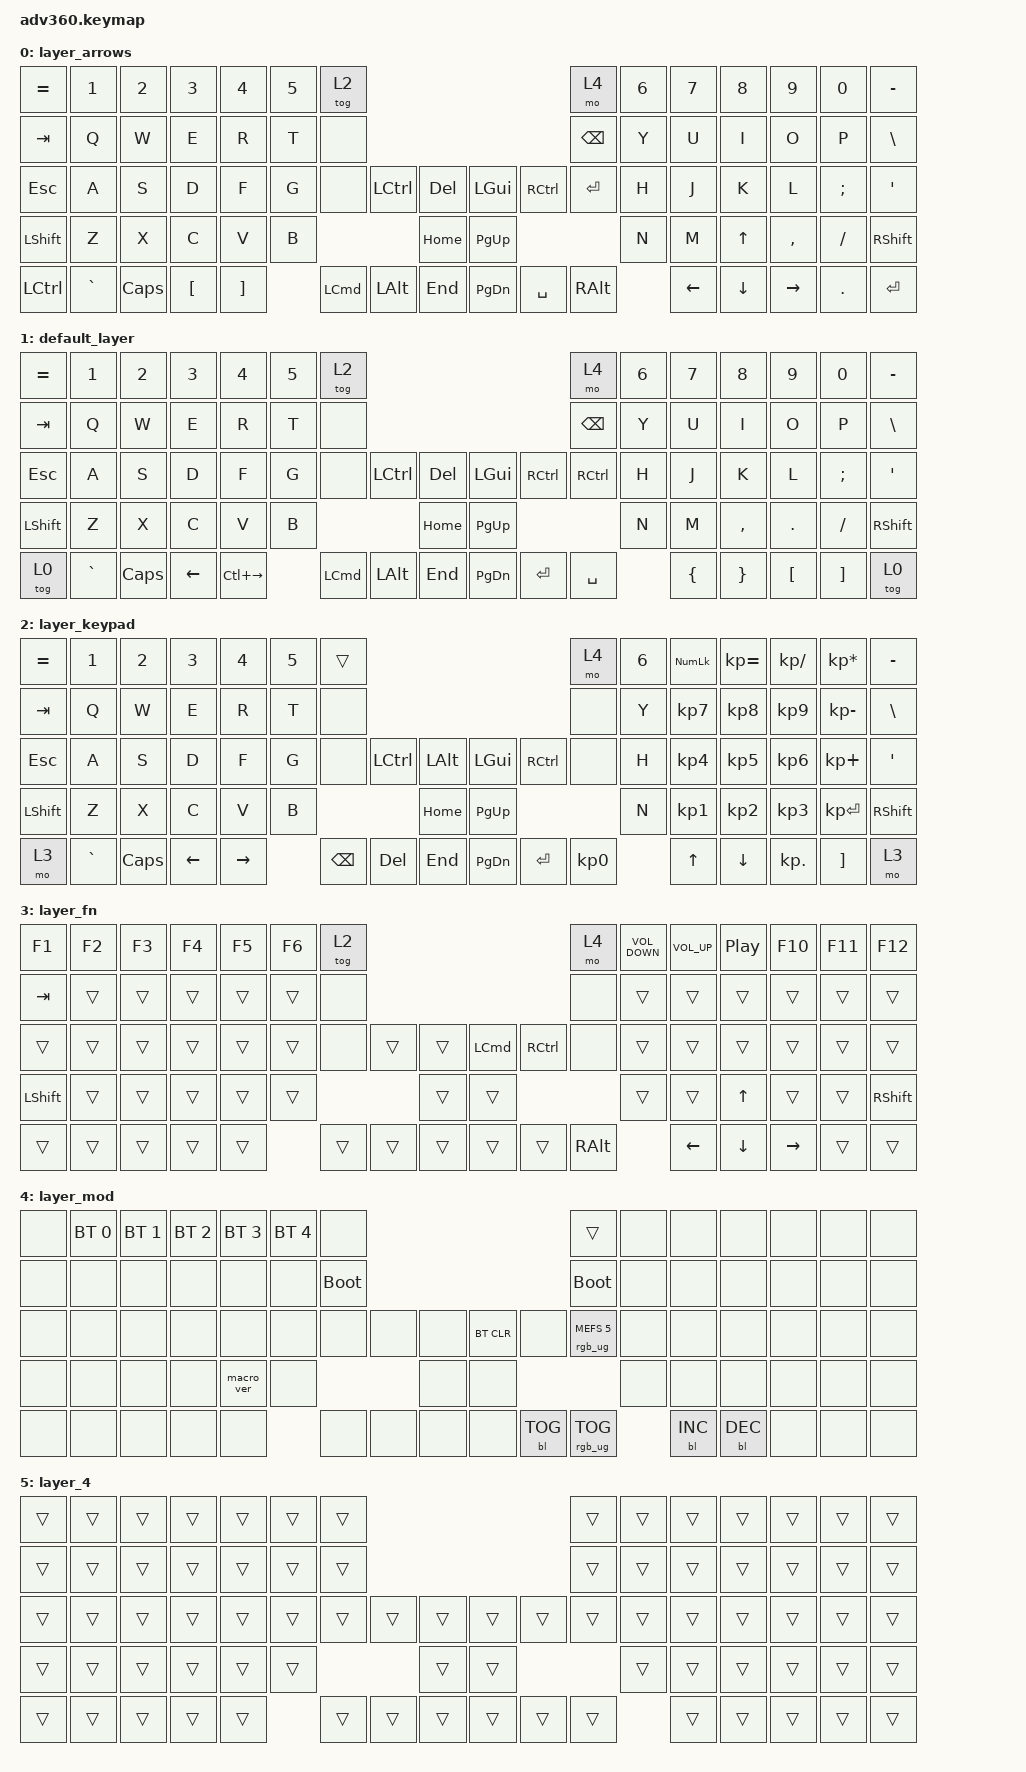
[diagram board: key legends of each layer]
/*
 * Copyright (c) 2020 The ZMK Contributors
 *
 * SPDX-License-Identifier: MIT
 */
/* THIS FILE WAS GENERATED!
 *
 * This file was generated automatically. You may or may not want to
 * edit it directly.
 */

#include <behaviors.dtsi>
#include <dt-bindings/zmk/backlight.h>
#include <dt-bindings/zmk/bt.h>
#include <dt-bindings/zmk/keys.h>
#include <dt-bindings/zmk/rgb.h>

/ {
    behaviors {
        #include "macros.dtsi"
    #include "version.dtsi"

        hm: homerow_mods {
            compatible = "zmk,behavior-hold-tap";
            label = "HOMEROW_MODS";
            #binding-cells = <2>;
            tapping-term-ms = <200>;
            quick_tap_ms = <175>;
            flavor = "tap-preferred";
            bindings = <&kp>, <&kp>;
        };
    };

    keymap {
        compatible = "zmk,keymap";

        layer_arrows {
            bindings = <
&kp EQUAL         &kp N1     &kp N2    &kp N3            &kp N4             &kp N5  &tog 2                                                                    &mo 4          &kp N6  &kp N7    &kp N8          &kp N9     &kp N0    &kp MINUS
&kp TAB           &kp Q      &kp W     &kp E             &kp R              &kp T   &none                                                                     &kp BACKSPACE  &kp Y   &kp U     &kp I           &kp O      &kp P     &kp BSLH
&kp ESC           &kp A      &kp S     &kp D             &kp F              &kp G   &none             &kp LEFT_CONTROL  &kp DELETE      &kp LGUI   &kp RCTRL  &kp ENTER      &kp H   &kp J     &kp K           &kp L      &kp SEMI  &kp SQT
&kp LSHFT         &kp Z      &kp X     &kp C             &kp V              &kp B                                       &kp HOME        &kp PG_UP                            &kp N   &kp M     &kp UP_ARROW    &kp COMMA  &kp FSLH  &kp RSHFT
&kp LEFT_CONTROL  &kp GRAVE  &kp CAPS  &kp LEFT_BRACKET  &kp RIGHT_BRACKET          &kp LEFT_COMMAND  &kp LEFT_ALT      &kp END         &kp PG_DN  &kp SPACE  &kp RIGHT_ALT          &kp LEFT  &kp DOWN_ARROW  &kp RIGHT  &kp DOT   &kp ENTER
            >;
        };

        default_layer {
            bindings = <
&kp EQUAL  &kp N1     &kp N2    &kp N3    &kp N4         &kp N5  &tog 2                                                                    &mo 4              &kp N6  &kp N7          &kp N8           &kp N9    &kp N0    &kp MINUS
&kp TAB    &kp Q      &kp W     &kp E     &kp R          &kp T   &none                                                                     &kp BACKSPACE      &kp Y   &kp U           &kp I            &kp O     &kp P     &kp BSLH
&kp ESC    &kp A      &kp S     &kp D     &kp F          &kp G   &none             &kp LEFT_CONTROL  &kp DELETE      &kp LGUI   &kp RCTRL  &kp RIGHT_CONTROL  &kp H   &kp J           &kp K            &kp L     &kp SEMI  &kp SQT
&kp LSHFT  &kp Z      &kp X     &kp C     &kp V          &kp B                                       &kp HOME        &kp PG_UP                                &kp N   &kp M           &kp COMMA        &kp DOT   &kp FSLH  &kp RSHFT
&tog 0     &kp GRAVE  &kp CAPS  &kp LEFT  &kp LC(RIGHT)          &kp LEFT_COMMAND  &kp LEFT_ALT      &kp END         &kp PG_DN  &kp ENTER  &kp SPACE                  &kp LEFT_BRACE  &kp RIGHT_BRACE  &kp LBKT  &kp RBKT  &tog 0
            >;
        };

        layer_keypad {
            bindings = <
&kp EQUAL  &kp N1     &kp N2    &kp N3    &kp N4     &kp N5  &trans                                                   &mo 4      &kp N6  &kp KP_NUM  &kp KP_EQUAL  &kp KP_DIVIDE  &kp KP_MULTIPLY  &kp MINUS
&kp TAB    &kp Q      &kp W     &kp E     &kp R      &kp T   &none                                                    &none      &kp Y   &kp KP_N7   &kp KP_N8     &kp KP_N9      &kp KP_MINUS     &kp BSLH
&kp ESC    &kp A      &kp S     &kp D     &kp F      &kp G   &none     &kp LCTRL  &kp LALT      &kp LGUI   &kp RCTRL  &none      &kp H   &kp KP_N4   &kp KP_N5     &kp KP_N6      &kp KP_PLUS      &kp SQT
&kp LSHFT  &kp Z      &kp X     &kp C     &kp V      &kp B                        &kp HOME      &kp PG_UP                        &kp N   &kp KP_N1   &kp KP_N2     &kp KP_N3      &kp KP_ENTER     &kp RSHFT
&mo 3      &kp GRAVE  &kp CAPS  &kp LEFT  &kp RIGHT          &kp BSPC  &kp DEL    &kp END       &kp PG_DN  &kp ENTER  &kp KP_N0          &kp UP      &kp DOWN      &kp KP_DOT     &kp RBKT         &mo 3
            >;
        };

        layer_fn {
            bindings = <
&kp F1          &kp F2  &kp F3  &kp F4  &kp F5  &kp F6  &tog 2                                                           &mo 4          &kp C_VOLUME_DOWN  &kp C_VOLUME_UP  &kp C_PLAY_PAUSE  &kp F10          &kp F11  &kp F12
&kp TAB         &trans  &trans  &trans  &trans  &trans  &none                                                            &none          &trans             &trans           &trans            &trans           &trans   &trans
&trans          &trans  &trans  &trans  &trans  &trans  &none   &trans  &trans      &kp LEFT_COMMAND  &kp RIGHT_CONTROL  &none          &trans             &trans           &trans            &trans           &trans   &trans
&kp LEFT_SHIFT  &trans  &trans  &trans  &trans  &trans                  &trans      &trans                                              &trans             &trans           &kp UP_ARROW      &trans           &trans   &kp RIGHT_SHIFT
&trans          &trans  &trans  &trans  &trans          &trans  &trans  &trans      &trans            &trans             &kp RIGHT_ALT                     &kp LEFT_ARROW   &kp DOWN_ARROW    &kp RIGHT_ARROW  &trans   &trans
            >;
        };

        layer_mod {
            bindings = <
&none  &bt BT_SEL 0  &bt BT_SEL 1  &bt BT_SEL 2  &bt BT_SEL 3  &bt BT_SEL 4  &none                                                  &trans                  &none  &none       &none       &none  &none  &none
&none  &none         &none         &none         &none         &none         &bootloader                                            &bootloader             &none  &none       &none       &none  &none  &none
&none  &none         &none         &none         &none         &none         &none        &none  &none      &bt BT_CLR  &none       &rgb_ug RGB_MEFS_CMD 5  &none  &none       &none       &none  &none  &none
&none  &none         &none         &none         &macro_ver    &none                             &none      &none                                           &none  &none       &none       &none  &none  &none
&none  &none         &none         &none         &none                       &none        &none  &none      &none       &bl BL_TOG  &rgb_ug RGB_TOG                &bl BL_INC  &bl BL_DEC  &none  &none  &none
            >;
        };

        layer_4 {
            bindings = <
&trans  &trans  &trans  &trans  &trans  &trans  &trans                                      &trans  &trans  &trans  &trans  &trans  &trans  &trans
&trans  &trans  &trans  &trans  &trans  &trans  &trans                                      &trans  &trans  &trans  &trans  &trans  &trans  &trans
&trans  &trans  &trans  &trans  &trans  &trans  &trans  &trans  &trans      &trans  &trans  &trans  &trans  &trans  &trans  &trans  &trans  &trans
&trans  &trans  &trans  &trans  &trans  &trans                  &trans      &trans                  &trans  &trans  &trans  &trans  &trans  &trans
&trans  &trans  &trans  &trans  &trans          &trans  &trans  &trans      &trans  &trans  &trans          &trans  &trans  &trans  &trans  &trans
            >;
        };
    };
};
